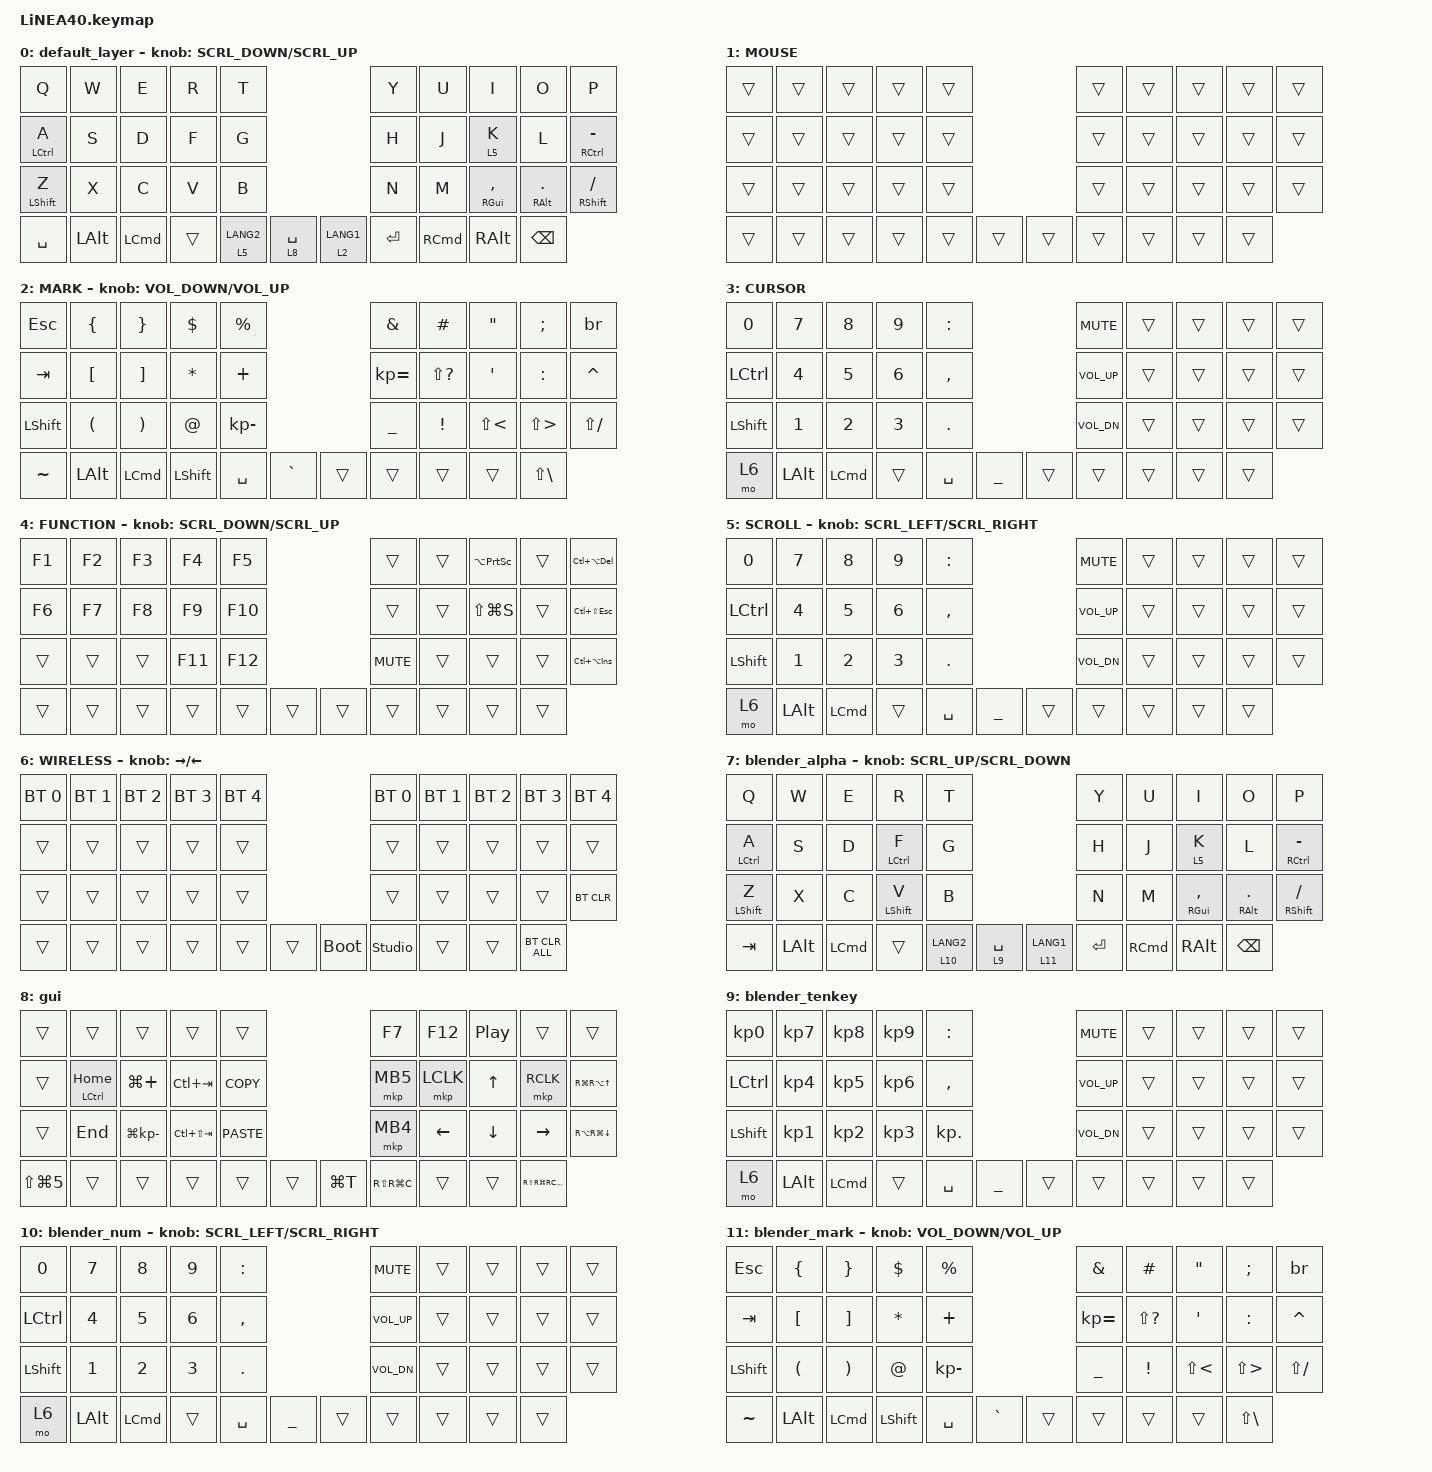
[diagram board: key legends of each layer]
#define ZMK_POINTING_DEFAULT_SCRL_VAL 150

#include <dt-bindings/zmk/input_transform.h>
#include <input/processors.dtsi>
#include <zephyr/dt-bindings/input/input-event-codes.h>
#include <behaviors.dtsi>
#include <dt-bindings/zmk/bt.h>
#include <dt-bindings/zmk/keys.h>
#include <dt-bindings/zmk/pointing.h>

#define MOUSE 1
#define MARK 2
#define CURSOR 3
#define FUNCTION 4
#define SCROLL 5
#define WIRELESS 6

//mouse cursol

&mmv {
    delay-ms = <20>;
    trigger-period-ms = <5>;
    time-to-max-speed-ms = <100>;
    acceleration-exponent = <2>;
};

//mouse scroll

&msc {
    delay-ms = <3>;
    trigger-period-ms = <16>;
    time-to-max-speed-ms = <100>;
    acceleration-exponent = <0>;
};

&mt {
    tapping-term-ms = <300>;
    flavor = "balanced";
};

/ {
    input_processors {
        zip_wheel_scaler: zip_wheel_scaler {
            compatible = "zmk,input-processor-scaler";
            #input-processor-cells = <2>;
            type = <INPUT_EV_REL>;
            codes = <INPUT_REL_WHEEL>;
            track-remainders;
        };
    };
};

&msc_input_listener {
    speed_up {
        layers = <FUNCTION>;
        input-processors = <&zip_wheel_scaler 1 3>; //スクロールを1/3倍速にする
    };
};

&trackball_listener {
    scroller {
        layers = <SCROLL>;
        input-processors =
            <&zip_xy_transform INPUT_TRANSFORM_Y_INVERT>,
            //スクロール方向を逆転,,,,,,,,,,,,,,,,,,,,,,,,,,,,,,,,,,,,,,,,,,,,,,,,,
            <&zip_xy_to_scroll_mapper>,
            <&zip_wheel_scaler 1 5>; //スクロールを1/5倍速にする
    };
};

/ {
    combos {
        compatible = "zmk,combos";

        DeleteKey {
            bindings = <&kp BACKSPACE>;
            key-positions = <7 8>;
        };

        CenterClick {
            bindings = <&mkp LCLK>;
            key-positions = <17 16>;
        };

        RightClick {
            bindings = <&mkp RCLK>;
            key-positions = <18 17>;
        };

        MiddleClick {
            bindings = <&mkp MCLK>;
            key-positions = <16 17 18>;
        };

        to_blender {
            bindings = <&to 7>;
            key-positions = <38 39 40>;
        };

        to_normal {
            bindings = <&to 0>;
            key-positions = <38 39>;
        };

        switch_app {
            bindings = <&kp LG(TAB)>;
            key-positions = <11 12 13>;
        };
    };

    behaviors {
        re_kp: sensor_rotate_kp {
            compatible = "zmk,behavior-sensor-rotate-var";
            #sensor-binding-cells = <2>;
            bindings = <&kp>, <&kp>;
        };

        mouse_scrl: mouse_wheel_scrl {
            compatible = "zmk,behavior-sensor-rotate-var";
            #sensor-binding-cells = <2>;
            bindings = <&msc>, <&msc>;

            tap-ms = <20>;
        };
    };

    macros {
        br: br {
            compatible = "zmk,behavior-macro";
            #binding-cells = <0>;
            bindings = <&kp BACKSLASH &kp N>;
            label = "BR";
        };
    };

    keymap {
        compatible = "zmk,keymap";

        default_layer {
            bindings = <
&kp Q             &kp W         &kp E     &kp R   &kp T                                    &kp Y      &kp U  &kp I                &kp O              &kp P
&mt LCTRL A       &kp S         &kp D     &kp F   &kp G                                    &kp H      &kp J  &lt 5 K              &kp L              &mt RCTRL MINUS
&mt LEFT_SHIFT Z  &kp X         &kp C     &kp V   &kp B                                    &kp N      &kp M  &mt RIGHT_GUI COMMA  &mt RIGHT_ALT DOT  &mt RIGHT_SHIFT SLASH
&kp SPACE         &kp LEFT_ALT  &kp LCMD  &trans  &lt 5 LANG2  &lt 8 SPACE    &lt 2 LANG1  &kp ENTER         &kp RCMD             &kp RIGHT_ALT      &kp BACKSPACE
            >;

            sensor-bindings = <&mouse_scrl SCRL_DOWN SCRL_UP>;
        };

        MOUSE {
            bindings = <
&trans  &trans  &trans  &trans  &trans                    &trans  &trans  &trans  &trans  &trans
&trans  &trans  &trans  &trans  &trans                    &trans  &trans  &trans  &trans  &trans
&trans  &trans  &trans  &trans  &trans                    &trans  &trans  &trans  &trans  &trans
&trans  &trans  &trans  &trans  &trans  &trans    &trans  &trans          &trans  &trans  &trans
            >;
        };

        MARK {
            bindings = <
&kp ESCAPE      &kp LEFT_BRACE        &kp RIGHT_BRACE        &kp DOLLAR      &kp PERCENT                           &kp AMPERSAND   &kp HASH          &kp DOUBLE_QUOTES  &kp SEMICOLON         &br
&kp TAB         &kp LEFT_BRACKET      &kp RIGHT_BRACKET      &kp ASTERISK    &kp PLUS                              &kp KP_EQUAL    &kp LS(QUESTION)  &kp SINGLE_QUOTE   &kp COLON             &kp CARET
&kp LEFT_SHIFT  &kp LEFT_PARENTHESIS  &kp RIGHT_PARENTHESIS  &kp AT_SIGN     &kp KP_SUBTRACT                       &kp UNDERSCORE  &kp EXCL          &kp LS(LESS_THAN)  &kp LS(GREATER_THAN)  &kp LS(SLASH)
&kp TILDE       &kp LEFT_ALT          &kp LCMD               &kp LEFT_SHIFT  &kp SPACE        &kp GRAVE    &trans  &trans                            &trans             &trans                &kp LS(BACKSLASH)
            >;

            sensor-bindings = <&re_kp C_VOLUME_DOWN C_VOLUME_UP>;
        };

        CURSOR {
            bindings = <
&kp NUMBER_0  &kp NUMBER_7  &kp NUMBER_8  &kp NUMBER_9  &kp COLON                             &kp K_MUTE    &trans  &trans  &trans  &trans
&kp LCTRL     &kp NUMBER_4  &kp NUMBER_5  &kp NUMBER_6  &kp COMMA                             &kp C_VOL_UP  &trans  &trans  &trans  &trans
&kp LSHIFT    &kp NUMBER_1  &kp NUMBER_2  &kp NUMBER_3  &kp PERIOD                            &kp C_VOL_DN  &trans  &trans  &trans  &trans
&mo 6         &kp LEFT_ALT  &kp LCMD      &trans        &kp SPACE   &kp UNDERSCORE    &trans  &trans                &trans  &trans  &trans
            >;
        };

        FUNCTION {
            bindings = <
&kp F1  &kp F2  &kp F3  &kp F4   &kp F5                     &trans      &trans  &kp LA(PRINTSCREEN)  &trans  &kp LC(LA(DELETE))
&kp F6  &kp F7  &kp F8  &kp F9   &kp F10                    &trans      &trans  &kp LS(LG(S))        &trans  &kp LC(LS(ESCAPE))
&trans  &trans  &trans  &kp F11  &kp F12                    &kp C_MUTE  &trans  &trans               &trans  &kp LC(LA(INS))
&trans  &trans  &trans  &trans   &trans   &trans    &trans  &trans              &trans               &trans  &trans
            >;

            sensor-bindings = <&mouse_scrl SCRL_DOWN SCRL_UP>;
        };

        SCROLL {
            bindings = <
&kp NUMBER_0      &kp NUMBER_7  &kp NUMBER_8  &kp NUMBER_9  &kp COLON                             &kp K_MUTE    &trans  &trans  &trans  &trans
&kp LEFT_CONTROL  &kp NUMBER_4  &kp NUMBER_5  &kp NUMBER_6  &kp COMMA                             &kp C_VOL_UP  &trans  &trans  &trans  &trans
&kp LEFT_SHIFT    &kp NUMBER_1  &kp NUMBER_2  &kp NUMBER_3  &kp PERIOD                            &kp C_VOL_DN  &trans  &trans  &trans  &trans
&mo 6             &kp LEFT_ALT  &kp LCMD      &trans        &kp SPACE   &kp UNDERSCORE    &trans  &trans                &trans  &trans  &trans
            >;

            sensor-bindings = <&mouse_scrl SCRL_LEFT SCRL_RIGHT>;
        };

        WIRELESS {
            bindings = <
&bt BT_SEL 0  &bt BT_SEL 1  &bt BT_SEL 2  &bt BT_SEL 3  &bt BT_SEL 4                         &bt BT_SEL 0    &bt BT_SEL 1  &bt BT_SEL 2  &bt BT_SEL 3  &bt BT_SEL 4
&trans        &trans        &trans        &trans        &trans                               &trans          &trans        &trans        &trans        &trans
&trans        &trans        &trans        &trans        &trans                               &trans          &trans        &trans        &trans        &bt BT_CLR
&trans        &trans        &trans        &trans        &trans        &trans    &bootloader  &studio_unlock                &trans        &trans        &bt BT_CLR_ALL
            >;

            sensor-bindings = <&inc_dec_kp RIGHT_ARROW LEFT_ARROW>;
        };

        blender_alpha {
            bindings = <
&kp Q             &kp W         &kp E     &kp R             &kp T                                      &kp Y      &kp U  &kp I                &kp O              &kp P
&mt LCTRL A       &kp S         &kp D     &mt LCTRL F       &kp G                                      &kp H      &kp J  &lt 5 K              &kp L              &mt RCTRL MINUS
&mt LEFT_SHIFT Z  &kp X         &kp C     &mt LEFT_SHIFT V  &kp B                                      &kp N      &kp M  &mt RIGHT_GUI COMMA  &mt RIGHT_ALT DOT  &mt RIGHT_SHIFT SLASH
&kp TAB           &kp LEFT_ALT  &kp LCMD  &trans            &lt 10 LANG2  &lt 9 SPACE    &lt 11 LANG1  &kp ENTER         &kp RCMD             &kp RIGHT_ALT      &kp BACKSPACE
            >;

            sensor-bindings = <&mouse_scrl SCRL_UP SCRL_DOWN>;
        };

        gui {
            bindings = <
&trans                &trans          &trans            &trans           &trans                            &kp F7         &kp F12         &kp C_PLAY_PAUSE  &trans           &trans
&trans                &mt LCTRL HOME  &kp LG(PLUS)      &kp LC(TAB)      &kp K_COPY                        &mkp MB5       &mkp LCLK       &kp UP_ARROW      &mkp RCLK        &kp RG(RA(UP_ARROW))
&trans                &kp END         &kp LG(KP_MINUS)  &kp LC(LS(TAB))  &kp K_PASTE                       &mkp MB4       &kp LEFT_ARROW  &kp DOWN_ARROW    &kp RIGHT_ARROW  &kp RA(RG(DOWN_ARROW))
&kp LS(LG(NUMBER_5))  &trans          &trans            &trans           &trans       &trans    &kp LG(T)  &kp RS(RG(C))                  &trans            &trans           &kp RS(RG(RC(N4)))
            >;
        };

        blender_tenkey {
            bindings = <
&kp KP_NUMBER_0  &kp KP_NUMBER_7  &kp KP_NUMBER_8  &kp KP_NUMBER_9  &kp COLON                             &kp K_MUTE    &trans  &trans  &trans  &trans
&kp LCTRL        &kp KP_NUMBER_4  &kp KP_NUMBER_5  &kp KP_NUMBER_6  &kp COMMA                             &kp C_VOL_UP  &trans  &trans  &trans  &trans
&kp LSHIFT       &kp KP_NUMBER_1  &kp KP_NUMBER_2  &kp KP_NUMBER_3  &kp KP_DOT                            &kp C_VOL_DN  &trans  &trans  &trans  &trans
&mo 6            &kp LEFT_ALT     &kp LCMD         &trans           &kp SPACE   &kp UNDERSCORE    &trans  &trans                &trans  &trans  &trans
            >;
        };

        blender_num {
            bindings = <
&kp NUMBER_0      &kp NUMBER_7  &kp NUMBER_8  &kp NUMBER_9  &kp COLON                             &kp K_MUTE    &trans  &trans  &trans  &trans
&kp LEFT_CONTROL  &kp NUMBER_4  &kp NUMBER_5  &kp NUMBER_6  &kp COMMA                             &kp C_VOL_UP  &trans  &trans  &trans  &trans
&kp LEFT_SHIFT    &kp NUMBER_1  &kp NUMBER_2  &kp NUMBER_3  &kp PERIOD                            &kp C_VOL_DN  &trans  &trans  &trans  &trans
&mo 6             &kp LEFT_ALT  &kp LCMD      &trans        &kp SPACE   &kp UNDERSCORE    &trans  &trans                &trans  &trans  &trans
            >;

            sensor-bindings = <&mouse_scrl SCRL_LEFT SCRL_RIGHT>;
        };

        blender_mark {
            bindings = <
&kp ESCAPE      &kp LEFT_BRACE        &kp RIGHT_BRACE        &kp DOLLAR      &kp PERCENT                           &kp AMPERSAND   &kp HASH          &kp DOUBLE_QUOTES  &kp SEMICOLON         &br
&kp TAB         &kp LEFT_BRACKET      &kp RIGHT_BRACKET      &kp ASTERISK    &kp PLUS                              &kp KP_EQUAL    &kp LS(QUESTION)  &kp SINGLE_QUOTE   &kp COLON             &kp CARET
&kp LEFT_SHIFT  &kp LEFT_PARENTHESIS  &kp RIGHT_PARENTHESIS  &kp AT_SIGN     &kp KP_SUBTRACT                       &kp UNDERSCORE  &kp EXCL          &kp LS(LESS_THAN)  &kp LS(GREATER_THAN)  &kp LS(SLASH)
&kp TILDE       &kp LEFT_ALT          &kp LCMD               &kp LEFT_SHIFT  &kp SPACE        &kp GRAVE    &trans  &trans                            &trans             &trans                &kp LS(BACKSLASH)
            >;

            sensor-bindings = <&re_kp C_VOLUME_DOWN C_VOLUME_UP>;
        };
    };
};
